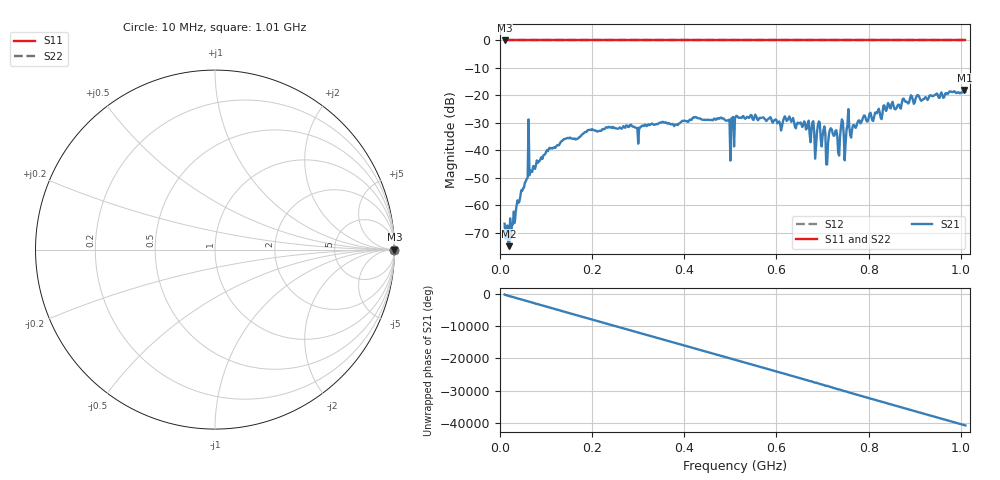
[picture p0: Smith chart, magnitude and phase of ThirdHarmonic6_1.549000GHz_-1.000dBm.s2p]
! 8/16/2025 6:23:12 PM
! C:\ANRITSUVNA\TEMP\TEMP.S2P
! CHANNEL.1
! TR.MEASUREMENT
! RAW.DATA
! RF.CORRECTION.OFF
! AVERAGING.OFF
! IF.BANDWIDTH: 5KHZ
! SWEEPTYPE:  FREQ.SWEEP(Linear)
! Reference Plane Port Info
! PORT:  PORT1  PORT2
! DISTANCE:  0  m  0  m
! TIME:  0  s  0  s
! PHASE.OFFSET:  0  deg.  0  deg.
! LOSS:  0  dB  0  dB
! REF.LOSS:  0  dB  0  dB
! REF.FREQ:  0  Hz  0  Hz
! Power Info
! POWER:  -20  dBm  -20  dBm
! EFF.POWER:  -20  dBm  -20  dBm
! SOURCE.ATTEN:  0  dB  0  dB
! TEST.ATTEN:  0  dB  0  dB
# GHZ S RI R 50.0
! FREQ.GHZ  S11RE  S11IM  S21RE  S21IM  S12RE  S12IM  S22RE  S22IM
!; PortSelection: Port_12
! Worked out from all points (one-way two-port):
!   501 points, 10 MHz to 1.01 GHz, reference 50 ohm
!   highest |S21| = -17.99 dB at 1.008 GHz (marker M1); lowest = -74.8 dB at 20 MHz (marker M2)
!   lowest |S11| = 0.0 dB at 10 MHz (marker M3)
!   |S11| at or under -10 dB: nowhere
!   |S22| runs from 0.0 to 0.0 dB; largest |S21 - S12| = 1.1
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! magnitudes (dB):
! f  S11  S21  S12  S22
! 10 MHz  0.0  -66.6  0.0  0.0
! 20 MHz  0.0  -74.8  0.0  0.0
! 64 MHz  0.0  -49.0  0.0  0.0
! 68 MHz  0.0  -47.9  0.0  0.0
! 106 MHz  0.0  -39.4  0.0  0.0
! 178 MHz  0.0  -34.2  0.0  0.0
! 344 MHz  0.0  -30.1  0.0  0.0
! 482 MHz  0.0  -28.4  0.0  0.0
! 504 MHz  0.0  -28.1  0.0  0.0
! 510 MHz  0.0  -28.1  0.0  0.0
! 678 MHz  0.0  -29.7  0.0  0.0
! 686 MHz  0.0  -38.2  0.0  0.0
! 692 MHz  0.0  -29.4  0.0  0.0
! 710 MHz  0.0  -45.1  0.0  0.0
! 718 MHz  0.0  -31.9  0.0  0.0
! 734 MHz  0.0  -40.9  0.0  0.0
! 742 MHz  0.0  -28.7  0.0  0.0
! 750 MHz  0.0  -37.5  0.0  0.0
! 756 MHz  0.0  -25.0  0.0  0.0
! 844 MHz  0.0  -23.3  0.0  0.0
! 1.008 GHz  0.0  -18.0  0.0  0.0
! 1.01 GHz  0.0  -18.7  0.0  0.0
